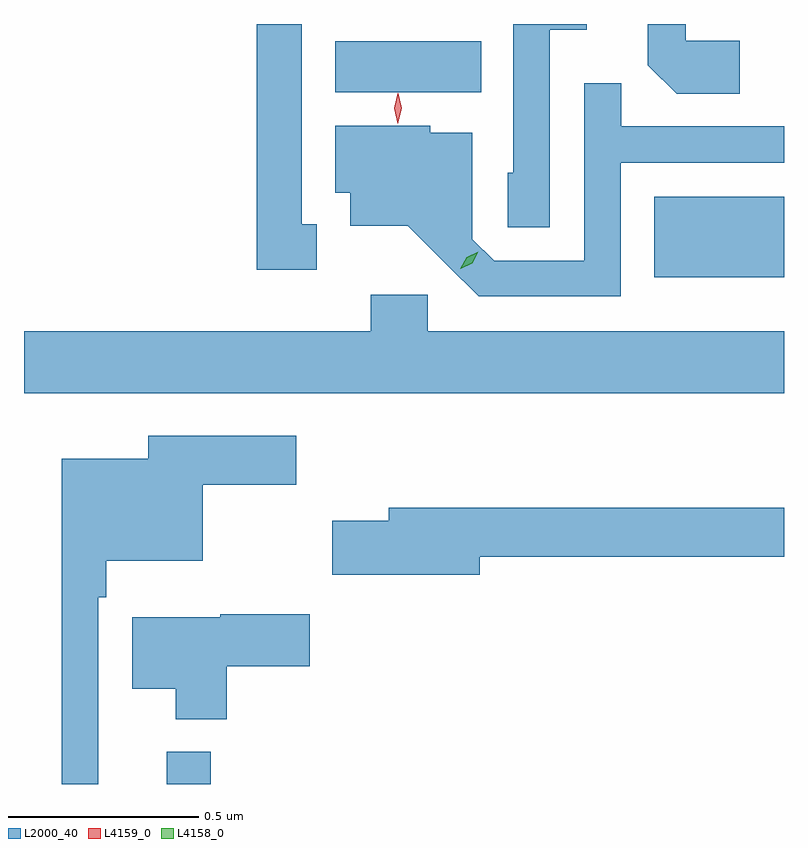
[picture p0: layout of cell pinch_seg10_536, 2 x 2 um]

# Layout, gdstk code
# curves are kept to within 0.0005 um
import gdstk
lib = gdstk.Library(unit=1e-6, precision=1e-09)
def R(c, l, rs):  # rectangles x0, y0, x1, y1
    for r in rs: c.add(gdstk.rectangle(r[:2], r[2:], *l))
def P(c, l, *ps):  # polygons
    for p in ps: c.add(gdstk.Polygon(p, *l))
L2000_40 = (2000, 40)
L4158_0 = (4158, 0)
L4159_0 = (4159, 0)

pinch_seg10_536 = lib.new_cell('pinch_seg10_536')
R(pinch_seg10_536, L2000_40, [(256.142,1304.616,256.259,1304.701), (257.426,1305.95,257.767,1306.162), (256.586,1306.436,256.97,1306.57)])
P(pinch_seg10_536, L2000_40, [(256.537,1306.089),(256.498,1306.089),(256.498,1306.616),(256.38,1306.616),(256.38,1305.969),(256.537,1305.969)],
  [(257.65,1306.572),(257.508,1306.572),(257.508,1306.616),(257.409,1306.616),(257.409,1306.508),(257.485,1306.432),(257.65,1306.432)],
  [(257.151,1306.601),(257.248,1306.601),(257.248,1306.616),(257.055,1306.616),(257.055,1306.224),(257.04,1306.224),(257.04,1306.081),(257.151,1306.081)],
  [(257.337,1306.251),(257.767,1306.251),(257.767,1306.347),(257.339,1306.347),(257.339,1306.46),(257.241,1306.46),(257.241,1305.993),(257.004,1305.993),(256.947,1306.05),(256.947,1306.33),(256.836,1306.33),(256.836,1306.348),(256.586,1306.348),(256.586,1306.172),(256.625,1306.172),(256.625,1306.085),(256.777,1306.085),(256.964,1305.9),(257.337,1305.9)],
  [(257.767,1305.808),(256.83,1305.808),(256.83,1305.904),(256.679,1305.904),(256.679,1305.808),(255.767,1305.808),(255.767,1305.644),(257.767,1305.644)],
  [(255.963,1305.107),(255.983,1305.107),(255.983,1305.203),(256.237,1305.203),(256.237,1305.403),(256.483,1305.403),(256.483,1305.532),(256.094,1305.532),(256.094,1305.472),(255.866,1305.472),(255.866,1304.616),(255.963,1304.616)],
  [(256.966,1305.214),(257.767,1305.214),(257.767,1305.343),(256.727,1305.343),(256.727,1305.309),(256.578,1305.309),(256.578,1305.167),(256.966,1305.167)],
  [(256.301,1304.926),(256.519,1304.926),(256.519,1305.063),(256.284,1305.063),(256.284,1305.055),(256.052,1305.055),(256.052,1304.867),(256.166,1304.867),(256.166,1304.786),(256.301,1304.786)])
P(pinch_seg10_536, L4158_0, [(256.915,1305.972),(256.915,1305.972),(256.932,1306.002),(256.963,1306.017),(256.963,1306.017),(256.963,1306.017),(256.946,1305.987),(256.916,1305.972)])
P(pinch_seg10_536, L4159_0, [(256.75,1306.354),(256.75,1306.354),(256.741,1306.394),(256.751,1306.434),(256.751,1306.434),(256.752,1306.434),(256.761,1306.394),(256.75,1306.354)])

lib.write_gds('pinch_seg10_536.gds')
